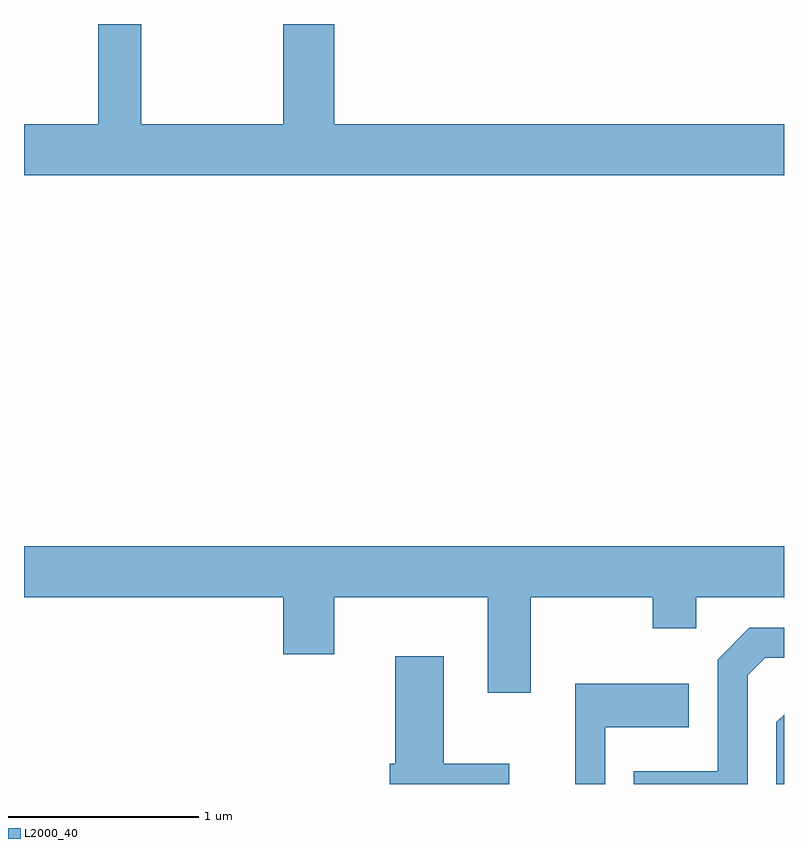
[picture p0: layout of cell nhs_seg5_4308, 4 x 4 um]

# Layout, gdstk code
import gdstk
lib = gdstk.Library(unit=1e-6, precision=1e-09)
def P(c, l, *ps):  # polygons
    for p in ps: c.add(gdstk.Polygon(p, *l))
L2000_40 = (2000, 40)

nhs_seg5_4308 = lib.new_cell('nhs_seg5_4308')
P(nhs_seg5_4308, L2000_40, [(317.611,1421.544),(315.244,1421.544),(315.244,1422.072),(314.976,1422.072),(314.976,1421.544),(314.229,1421.544),(314.229,1422.072),(314.001,1422.072),(314.001,1421.544),(313.611,1421.544),(313.611,1421.276),(317.611,1421.276)],
  [(316.279,1419.056),(316.921,1419.056),(316.921,1418.891),(317.149,1418.891),(317.149,1419.056),(317.611,1419.056),(317.611,1419.324),(313.611,1419.324),(313.611,1419.056),(314.976,1419.056),(314.976,1418.756),(315.244,1418.756),(315.244,1419.056),(316.051,1419.056),(316.051,1418.551),(316.279,1418.551)],
  [(317.419,1418.644),(317.512,1418.736),(317.611,1418.736),(317.611,1418.894),(317.429,1418.894),(317.261,1418.727),(317.261,1418.139),(316.821,1418.139),(316.821,1418.072),(317.419,1418.072)],
  [(316.164,1418.179),(315.819,1418.179),(315.819,1418.744),(315.566,1418.744),(315.566,1418.179),(315.536,1418.179),(315.536,1418.072),(316.164,1418.072)],
  [(316.669,1418.371),(317.109,1418.371),(317.109,1418.599),(316.511,1418.599),(316.511,1418.072),(316.669,1418.072)],
  [(317.611,1418.437),(317.571,1418.397),(317.571,1418.072),(317.611,1418.072)])

lib.write_gds('nhs_seg5_4308.gds')
